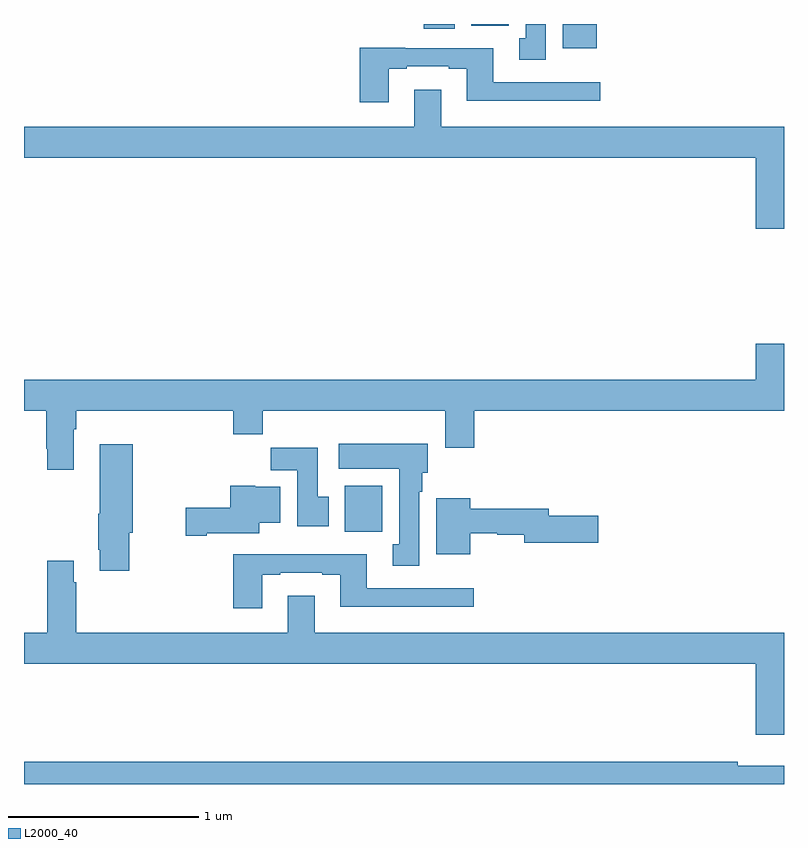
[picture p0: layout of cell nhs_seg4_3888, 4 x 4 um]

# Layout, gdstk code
import gdstk
lib = gdstk.Library(unit=1e-6, precision=1e-09)
def R(c, l, rs):  # rectangles x0, y0, x1, y1
    for r in rs: c.add(gdstk.rectangle(r[:2], r[2:], *l))
def P(c, l, *ps):  # polygons
    for p in ps: c.add(gdstk.Polygon(p, *l))
L2000_40 = (2000, 40)

nhs_seg4_3888 = lib.new_cell('nhs_seg4_3888')
R(nhs_seg4_3888, L2000_40, [(318.689,752.228,318.886,752.47), (319.835,754.772,320.014,754.9), (319.103,754.875,319.267,754.9), (319.355,754.892,319.552,754.9)])
P(nhs_seg4_3888, L2000_40, [(319.747,754.9),(319.64,754.9),(319.64,754.826),(319.607,754.826),(319.607,754.713),(319.747,754.713)],
  [(318.919,754.665),(319.015,754.665),(319.015,754.677),(319.235,754.677),(319.235,754.665),(319.331,754.665),(319.331,754.496),(320.032,754.496),(320.032,754.593),(319.471,754.593),(319.471,754.773),(319.007,754.773),(319.007,754.774),(318.767,754.774),(318.767,754.488),(318.919,754.488)],
  [(321,754.36),(319.195,754.36),(319.195,754.555),(319.055,754.555),(319.055,754.36),(317,754.36),(317,754.196),(320.852,754.196),(320.852,753.822),(321,753.822)],
  [(317.263,752.768),(317.276,752.768),(317.276,752.864),(318.101,752.864),(318.101,752.74),(318.257,752.74),(318.257,752.864),(319.217,752.864),(319.217,752.67),(319.37,752.67),(319.37,752.864),(321,752.864),(321,753.217),(320.852,753.217),(320.852,753.028),(317,753.028),(317,752.864),(317.116,752.864),(317.116,752.665),(317.123,752.665),(317.123,752.553),(317.263,752.553)],
  [(319.081,752.438),(319.096,752.438),(319.096,752.538),(319.126,752.538),(319.126,752.692),(318.657,752.692),(318.657,752.558),(318.974,752.558),(318.974,752.162),(318.941,752.162),(318.941,752.049),(319.081,752.049)],
  [(317.554,752.223),(317.572,752.223),(317.572,752.689),(317.399,752.689),(317.399,752.323),(317.392,752.323),(317.392,752.134),(317.399,752.134),(317.399,752.022),(317.554,752.022)],
  [(318.604,752.412),(318.547,752.412),(318.547,752.671),(318.298,752.671),(318.298,752.552),(318.437,752.552),(318.437,752.256),(318.604,752.256)],
  [(317.962,752.219),(318.238,752.219),(318.238,752.276),(318.349,752.276),(318.349,752.464),(318.216,752.464),(318.216,752.47),(318.086,752.47),(318.086,752.354),(317.85,752.354),(317.85,752.207),(317.962,752.207)],
  [(319.348,752.22),(319.491,752.22),(319.491,752.212),(319.634,752.212),(319.634,752.17),(320.023,752.17),(320.023,752.312),(319.762,752.312),(319.762,752.348),(319.348,752.348),(319.348,752.404),(319.169,752.404),(319.169,752.108),(319.348,752.108)],
  [(318.253,752.001),(318.349,752.001),(318.349,752.013),(318.569,752.013),(318.569,752.001),(318.665,752.001),(318.665,751.832),(319.366,751.832),(319.366,751.929),(318.805,751.929),(318.805,752.11),(318.101,752.11),(318.101,751.824),(318.253,751.824)],
  [(321,751.696),(318.529,751.696),(318.529,751.891),(318.389,751.891),(318.389,751.696),(317.276,751.696),(317.276,751.961),(317.263,751.961),(317.263,752.074),(317.123,752.074),(317.123,751.696),(317,751.696),(317,751.532),(320.852,751.532),(320.852,751.158),(321,751.158)],
  [(321,750.997),(320.756,750.997),(320.756,751.016),(317,751.016),(317,750.9),(321,750.9)])

lib.write_gds('nhs_seg4_3888.gds')
